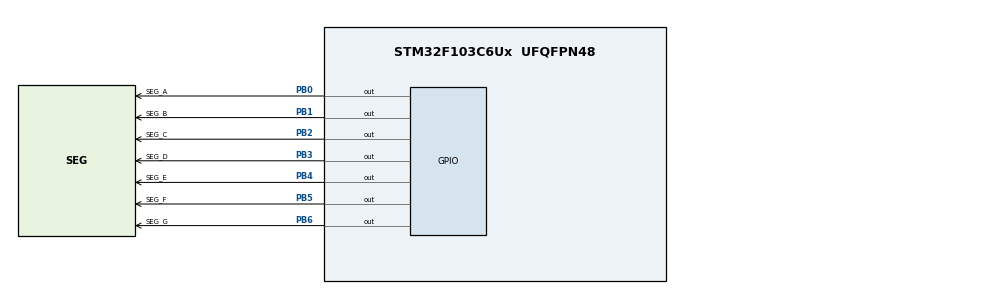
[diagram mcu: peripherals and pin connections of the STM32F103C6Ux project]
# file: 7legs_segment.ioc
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Mcu.Family=STM32F1
Mcu.Name=STM32F103C6Ux
Mcu.Package=UFQFPN48
NVIC.PriorityGroup=NVIC_PRIORITYGROUP_4
PB0.GPIO_Label=SEG_A
PB0.Signal=GPIO_Output
PB1.GPIO_Label=SEG_B
PB1.Signal=GPIO_Output
PB2.GPIO_Label=SEG_C
PB2.Signal=GPIO_Output
PB3.GPIO_Label=SEG_D
PB3.Signal=GPIO_Output
PB4.GPIO_Label=SEG_E
PB4.Signal=GPIO_Output
PB5.GPIO_Label=SEG_F
PB5.Signal=GPIO_Output
PB6.GPIO_Label=SEG_G
PB6.Signal=GPIO_Output
ProjectManager.HeapSize=0x200
ProjectManager.StackSize=0x400
ProjectManager.TargetToolchain=STM32CubeIDE
RCC.APB1Freq_Value=8000000
RCC.APB2Freq_Value=8000000
VP_SYS_VS_ND.Mode=No_Debug
board=custom

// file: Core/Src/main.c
/* USER CODE BEGIN Header */
/**
  ******************************************************************************
  * @file           : main.c
  * @brief          : Main program body
  ******************************************************************************
  * @attention
  *
  * <h2><center>&copy; Copyright (c) 2026 STMicroelectronics.
  * All rights reserved.</center></h2>
  *
  * This software component is licensed by ST under BSD 3-Clause license,
  * the "License"; You may not use this file except in compliance with the
  * License. You may obtain a copy of the License at:
  *                        opensource.org/licenses/BSD-3-Clause
  *
  ******************************************************************************
  */
/* USER CODE END Header */
#include "main.h"

void SystemClock_Config(void);
static void MX_GPIO_Init(void);
/* USER CODE BEGIN PFP */
void display7SEG(int num);
/* USER CODE END PFP */

int main(void)
{

  /* MCU Configuration--------------------------------------------------------*/

  /* Reset of all peripherals, Initializes the Flash interface and the Systick. */
  HAL_Init();

  /* Configure the system clock */
  SystemClock_Config();

  /* Initialize all configured peripherals */
  MX_GPIO_Init();

  /* Infinite loop */
  /* USER CODE BEGIN WHILE */
  while (1)
  {
	  for (int i = 0; i < 10; i++) {
	  	            display7SEG(i);
	  	            HAL_Delay(1000);
	    }
    /* USER CODE END WHILE */

  }
}

void SystemClock_Config(void)
{
  RCC_OscInitTypeDef RCC_OscInitStruct = {0};
  RCC_ClkInitTypeDef RCC_ClkInitStruct = {0};

  /** Initializes the RCC Oscillators according to the specified parameters
  * in the RCC_OscInitTypeDef structure.
  */
  RCC_OscInitStruct.OscillatorType = RCC_OSCILLATORTYPE_HSI;
  RCC_OscInitStruct.HSIState = RCC_HSI_ON;
  RCC_OscInitStruct.HSICalibrationValue = RCC_HSICALIBRATION_DEFAULT;
  RCC_OscInitStruct.PLL.PLLState = RCC_PLL_NONE;
  if (HAL_RCC_OscConfig(&RCC_OscInitStruct) != HAL_OK)
  {
    Error_Handler();
  }
  /** Initializes the CPU, AHB and APB buses clocks
  */
  RCC_ClkInitStruct.ClockType = RCC_CLOCKTYPE_HCLK|RCC_CLOCKTYPE_SYSCLK
                              |RCC_CLOCKTYPE_PCLK1|RCC_CLOCKTYPE_PCLK2;
  RCC_ClkInitStruct.SYSCLKSource = RCC_SYSCLKSOURCE_HSI;
  RCC_ClkInitStruct.AHBCLKDivider = RCC_SYSCLK_DIV1;
  RCC_ClkInitStruct.APB1CLKDivider = RCC_HCLK_DIV1;
  RCC_ClkInitStruct.APB2CLKDivider = RCC_HCLK_DIV1;

  if (HAL_RCC_ClockConfig(&RCC_ClkInitStruct, FLASH_LATENCY_0) != HAL_OK)
  {
    Error_Handler();
  }
}

static void MX_GPIO_Init(void)
{
  GPIO_InitTypeDef GPIO_InitStruct = {0};

  /* GPIO Ports Clock Enable */
  __HAL_RCC_GPIOB_CLK_ENABLE();

  /*Configure GPIO pin Output Level */
  HAL_GPIO_WritePin(GPIOB, SEG_A_Pin|SEG_B_Pin|SEG_C_Pin|SEG_D_Pin
                          |SEG_E_Pin|SEG_F_Pin|SEG_G_Pin, GPIO_PIN_RESET);

  /*Configure GPIO pins : SEG_A_Pin SEG_B_Pin SEG_C_Pin SEG_D_Pin
                           SEG_E_Pin SEG_F_Pin SEG_G_Pin */
  GPIO_InitStruct.Pin = SEG_A_Pin|SEG_B_Pin|SEG_C_Pin|SEG_D_Pin
                          |SEG_E_Pin|SEG_F_Pin|SEG_G_Pin;
  GPIO_InitStruct.Mode = GPIO_MODE_OUTPUT_PP;
  GPIO_InitStruct.Pull = GPIO_NOPULL;
  GPIO_InitStruct.Speed = GPIO_SPEED_FREQ_LOW;
  HAL_GPIO_Init(GPIOB, &GPIO_InitStruct);

}

/* USER CODE BEGIN 4 */
void display7SEG(int num) {
	// Hex codes for displaying digits 0–9 on a common-anode 7-segment LED
    // Bit 0 corresponds to segment A, Bit 1 to segment B, ..., Bit 6 to segment G
	// 0 = ON, 1 = OFF
    uint8_t hex_code[10] = {0x40, 0x79, 0x24, 0x30, 0x19, 0x12, 0x02, 0x78, 0x00, 0x10};

    // if out range 0-9, do nothing
    if (num < 0 || num > 9) return;

    uint8_t code = hex_code[num];

    // Using shifting bit & AND logic to isolate the state of each pin
    HAL_GPIO_WritePin(GPIOB, SEG_A_Pin, ((code >> 0) & 0x01) ? GPIO_PIN_SET : GPIO_PIN_RESET);
    HAL_GPIO_WritePin(GPIOB, SEG_B_Pin, ((code >> 1) & 0x01) ? GPIO_PIN_SET : GPIO_PIN_RESET);
    HAL_GPIO_WritePin(GPIOB, SEG_C_Pin, ((code >> 2) & 0x01) ? GPIO_PIN_SET : GPIO_PIN_RESET);
    HAL_GPIO_WritePin(GPIOB, SEG_D_Pin, ((code >> 3) & 0x01) ? GPIO_PIN_SET : GPIO_PIN_RESET);
    HAL_GPIO_WritePin(GPIOB, SEG_E_Pin, ((code >> 4) & 0x01) ? GPIO_PIN_SET : GPIO_PIN_RESET);
    HAL_GPIO_WritePin(GPIOB, SEG_F_Pin, ((code >> 5) & 0x01) ? GPIO_PIN_SET : GPIO_PIN_RESET);
    HAL_GPIO_WritePin(GPIOB, SEG_G_Pin, ((code >> 6) & 0x01) ? GPIO_PIN_SET : GPIO_PIN_RESET);
}
/* USER CODE END 4 */

void Error_Handler(void)
{
  __disable_irq();
  while (1)
  {
  }
}

/************************ (C) COPYRIGHT STMicroelectronics *****END OF FILE****/
